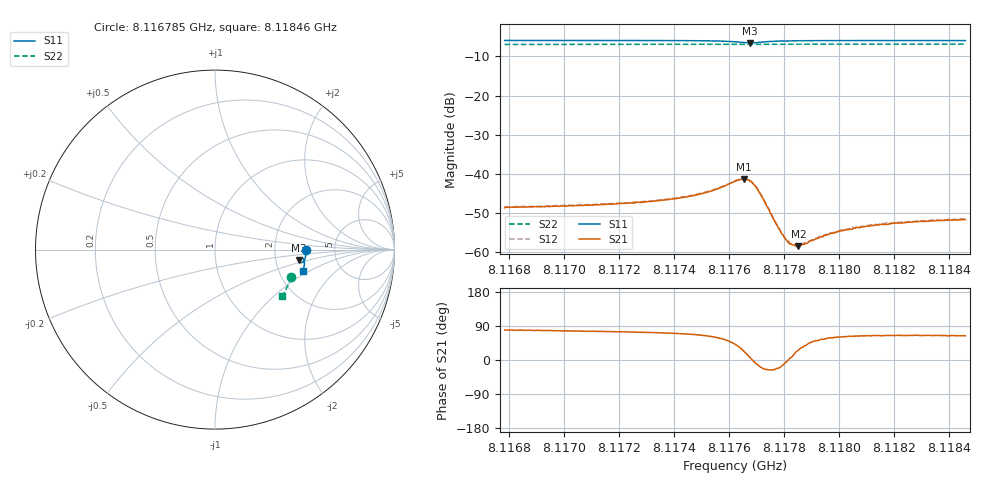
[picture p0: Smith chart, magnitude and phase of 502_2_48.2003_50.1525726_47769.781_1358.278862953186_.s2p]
#  HZ  S  RI  R  50.00
! Rohde & Schwarz Vector Network Analyzer
! Rohde-Schwarz,ZNB20-2Port,1311601062101988,3.16
! Created: UTC 3/20/2024, 11:58:36 AM
! freq[Hz]  re:S11  im:S11  re:S21  im:S21  re:S12  im:S12  re:S22  im:S22
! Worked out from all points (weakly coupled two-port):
!   401 points, 8.116785 GHz to 8.11846 GHz, reference 50 ohm
!   highest |S21| = -41.34 dB at 8.117656 GHz (marker M1); lowest = -58.5 dB at 8.117853 GHz (marker M2)
!   lowest |S11| = -6.5 dB at 8.117677 GHz (marker M3), VSWR 2.79, Z = 136 - j20.4 ohm
!   |S11| at or under -10 dB: nowhere
!   |S22| runs from -6.9 to -6.8 dB; largest |S21 - S12| = 0.00023
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8.1167845e9  0.5068 0.000501  0.000672 0.00363  0.000756 0.00369  0.4236 -0.1541
8.1170652e9  0.506 -0.0213  0.00095 0.00381  0.000967 0.0039  0.4172 -0.1726
8.1173458e9  0.5031 -0.0448  0.00141 0.0043  0.00149 0.00437  0.41 -0.1909
8.1175008e9  0.4987 -0.0601  0.00232 0.00504  0.00241 0.00515  0.4056 -0.201
8.1175427e9  0.4957 -0.0651  0.00296 0.00536  0.00306 0.00545  0.4041 -0.2036
8.1176223e9  0.4813 -0.0729  0.00595 0.00532  0.00611 0.00539  0.4012 -0.2087
8.1176558e9  0.4707 -0.0673  0.00792 0.00328  0.00809 0.00329  0.3999 -0.2103
8.1176767e9  0.4683 -0.0583  0.00802 0.000955  0.00824 0.000907  0.3993 -0.2111
8.1176935e9  0.4713 -0.0512  0.00706 -0.000748  0.00717 -0.000787  0.3989 -0.2119
8.1177103e9  0.4773 -0.0473  0.00561 -0.00162  0.00571 -0.0017  0.3988 -0.2128
8.1177815e9  0.4945 -0.0541  0.00186 -0.000734  0.00191 -0.000715  0.3974 -0.2175
8.1178024e9  0.4963 -0.0574  0.00149 -0.000252  0.00153 -0.000249  0.3968 -0.2188
8.117815e9  0.497 -0.0593  0.00132 -2.47e-05  0.0014 -3.79e-05  0.3965 -0.2196
8.1178317e9  0.4978 -0.0616  0.00121 0.000222  0.00122 0.000253  0.396 -0.2209
8.1178527e9  0.4983 -0.0644  0.00107 0.000512  0.00114 0.000551  0.3954 -0.2222
8.1178652e9  0.4986 -0.0659  0.00103 0.000683  0.00106 0.000666  0.3951 -0.223
8.1179029e9  0.4987 -0.0704  0.000939 0.00104  0.000984 0.00104  0.3937 -0.2255
8.1179532e9  0.4987 -0.0755  0.000903 0.00135  0.000924 0.00139  0.3921 -0.2286
8.1180118e9  0.4982 -0.0809  0.000896 0.00164  0.000939 0.00167  0.3902 -0.2324
8.1180705e9  0.4976 -0.086  0.000928 0.00182  0.000979 0.00188  0.3881 -0.236
8.1181836e9  0.496 -0.0956  0.000967 0.00207  0.001 0.00212  0.3842 -0.2428
8.1184601e9  0.4915 -0.1167  0.00115 0.00232  0.00115 0.00238  0.3741 -0.2596
